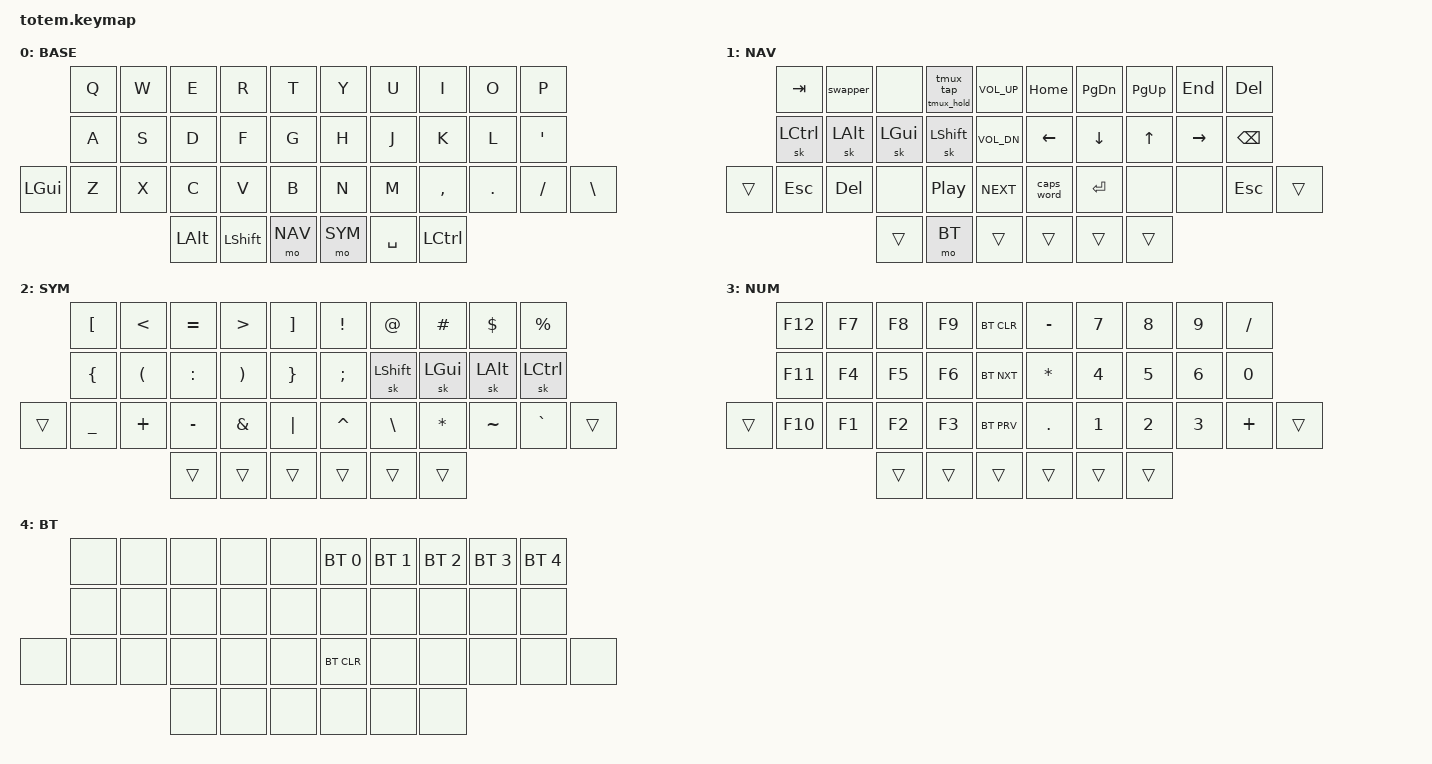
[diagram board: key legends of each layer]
//
//                                                        ▀▀▀▀▀     ▀▀▀▀▀          ▀▀█▀▀
//                                                        ▄▀▀▀▄  ▄  ▄▀▀▀▄  ▄  ▄▀▀▀▄  █  ▄▀▀▀▄
//                                                        █   █  █  █   █  █  █   █  █  █   █
//                                                         ▀▀▀   █   ▀▀▀   █   ▀▀▀   ▀   ▀▀▀
//                                                               █      ▄▄▄█▄▄▄    █   █  
//                                                               ▀      █  █  █     █▄█
//                                                             ▀▀▀▀▀    █  █  █      ▀
//                                                                      ▀  ▀  ▀
//
// ▄▄▄▄▄▄▄▄▄▄▄▄▄▄▄▄▄▄▄▄▄▄▄▄▄▄▄▄▄▄▄▄▄▄▄▄▄▄▄▄▄▄▄▄▄▄▄▄▄▄▄▄▄▄▄▄▄▄▄▄▄▄▄▄▄▄▄▄▄▄▄▄▄▄▄▄▄▄▄▄▄▄▄▄▄▄▄▄▄▄▄▄▄▄▄▄▄▄▄▄▄▄▄▄▄▄▄▄▄▄▄▄▄▄▄▄▄▄▄▄▄▄▄▄▄▄▄▄▄▄▄▄▄▄▄▄▄▄▄▄▄▄▄▄▄▄▄▄▄
       

#include <behaviors.dtsi>
#include <dt-bindings/zmk/keys.h>
#include <dt-bindings/zmk/bt.h>
#include <dt-bindings/zmk/outputs.h>
#include <dt-bindings/zmk/ext_power.h>

#define BASE 0
#define NAV  1
#define SYM  2
#define NUM  3
#define BT   4

&sk {
  release-after-ms = <5000>;
  ignore-modifiers;
};

/ {
    conditional_layers {
        compatible = "zmk,conditional-layers";
        tri_layer {
            if-layers = <NAV SYM>;
            then-layer = <NUM>;
        };
    };

    behaviors {
        swapper: swapper {
            compatible = "zmk,behavior-tri-state";
            label = "SWAPPER";
            #binding-cells = <0>;
            bindings = <&kt LGUI>, <&kp TAB>, <&kt LGUI>;
        };
        
        tmux: tmux_prefix {
            compatible = "zmk,behavior-hold-tap";
            label = "TMUX_PREFIX";
            #binding-cells = <2>;
            tapping-term-ms = <200>;
            quick-tap-ms = <0>;
            flavor = "tap-preferred";
            bindings = <&tmux_hold>, <&tmux_tap>;
        };
    };
    
    macros {
        tmux_tap: tmux_tap {
            label = "TMUX_TAP";
            compatible = "zmk,behavior-macro";
            #binding-cells = <0>;
            bindings
                = <&macro_press &kp LCTRL>
                , <&macro_tap &kp SPACE>
                , <&macro_release &kp LCTRL>
                ;
        };
        
        tmux_hold: tmux_hold {
            label = "TMUX_HOLD";
            compatible = "zmk,behavior-macro-one-param";
            #binding-cells = <1>;
            bindings
                = <&macro_press &kp LCTRL>
                , <&macro_tap &kp SPACE>
                , <&macro_release &kp LCTRL>
                , <&macro_param_1to1>
                , <&macro_tap &kp MACRO_PLACEHOLDER>
                ;
        };
    };
                                
        keymap {
                compatible = "zmk,keymap";
// ▄▄▄▄▄▄▄▄▄▄▄▄▄▄▄▄▄▄▄▄▄▄▄▄▄▄▄▄▄▄▄▄▄▄▄▄▄▄▄▄▄▄▄▄▄▄▄▄▄▄▄▄▄▄▄▄▄▄▄▄▄▄▄▄▄▄▄▄▄▄▄▄▄▄▄▄▄▄▄▄▄▄▄▄▄▄▄▄▄▄▄▄▄▄▄▄▄▄▄▄▄▄▄▄▄▄▄▄▄▄▄▄▄▄▄▄▄▄▄▄▄▄▄▄▄▄▄▄▄▄▄▄▄▄▄▄▄▄▄▄▄▄▄▄▄▄▄▄▄

                base_layer {
// ┏━━━━━━━━━━━━━━━━━━━━━━━━━━━━━━━━━━━━━━━┓
label= "BASE"                              ;
// ┗━━━━━━━━━━━━━━━━━━━━━━━━━━━━━━━━━━━━━━━┛
//             ┏━━━━━━━━━━━┳━━━━━━━━━━━┳━━━━━━━━━━━┳━━━━━━━━━━━┳━━━━━━━━━━━┓   ┏━━━━━━━━━━━┳━━━━━━━━━━━┳━━━━━━━━━━━┳━━━━━━━━━━━┳━━━━━━━━━━━┓
//             ┃     Q     ┃     W     ┃     E     ┃     R     ┃     T     ┃   ┃     Y     ┃     U     ┃     I     ┃     O     ┃     P     ┃
//             ┣━━━━━━━━━━━╋━━━━━━━━━━━╋━━━━━━━━━━━╋━━━━━━━━━━━╋━━━━━━━━━━━┫   ┣━━━━━━━━━━━╋━━━━━━━━━━━╋━━━━━━━━━━━╋━━━━━━━━━━━╋━━━━━━━━━━━┫
//             ┃     A     ┃     S     ┃     D     ┃     F     ┃     G     ┃   ┃     H     ┃     J     ┃     K     ┃     L     ┃     '     ┃
// ┏━━━━━━━━━━━╋━━━━━━━━━━━╋━━━━━━━━━━━╋━━━━━━━━━━━╋━━━━━━━━━━━╋━━━━━━━━━━━┫   ┣━━━━━━━━━━━╋━━━━━━━━━━━╋━━━━━━━━━━━╋━━━━━━━━━━━╋━━━━━━━━━━━╋━━━━━━━━━━━┓
// ┃    CMD    ┃     Z     ┃     X     ┃     C     ┃     V     ┃     B     ┃   ┃     N     ┃     M     ┃     ,     ┃     .     ┃     /     ┃     \     ┃
// ┗━━━━━━━━━━━┻━━━━━━━━━━━┻━━━━━━━━━━━╋━━━━━━━━━━━╋━━━━━━━━━━━╋━━━━━━━━━━━┫   ┣━━━━━━━━━━━╋━━━━━━━━━━━╋━━━━━━━━━━━╋━━━━━━━━━━━┻━━━━━━━━━━━┻━━━━━━━━━━━┛
//                                     ┃    ALT    ┃   SHIFT   ┃    NAV    ┃   ┃    SYM    ┃   SPACE   ┃   CTRL    ┃
//                                     ┗━━━━━━━━━━━┻━━━━━━━━━━━┻━━━━━━━━━━━┛   ┗━━━━━━━━━━━┻━━━━━━━━━━━┻━━━━━━━━━━━┛
 bindings = <
// ╷           ╷           ╷           ╷           ╷           ╷           ╷   ╷           ╷           ╷           ╷           ╷           ╷           ╷

                &kp Q       &kp W       &kp E       &kp R       &kp T           &kp Y       &kp U       &kp I       &kp O       &kp P
                &kp A       &kp S       &kp D       &kp F       &kp G           &kp H       &kp J       &kp K       &kp L       &kp SQT  
    &kp LGUI    &kp Z       &kp X       &kp C       &kp V       &kp B           &kp N       &kp M       &kp COMMA   &kp DOT     &kp FSLH    &kp BSLH
                                        &kp LALT    &kp LSHIFT  &mo NAV         &mo SYM     &kp SPACE   &kp LCTRL
                        >;
                };

// ▄▄▄▄▄▄▄▄▄▄▄▄▄▄▄▄▄▄▄▄▄▄▄▄▄▄▄▄▄▄▄▄▄▄▄▄▄▄▄▄▄▄▄▄▄▄▄▄▄▄▄▄▄▄▄▄▄▄▄▄▄▄▄▄▄▄▄▄▄▄▄▄▄▄▄▄▄▄▄▄▄▄▄▄▄▄▄▄▄▄▄▄▄▄▄▄▄▄▄▄▄▄▄▄▄▄▄▄▄▄▄▄▄▄▄▄▄▄▄▄▄▄▄▄▄▄▄▄▄▄▄▄▄▄▄▄▄▄▄▄▄▄▄▄▄▄▄▄▄

                nav_layer {
// ┏━━━━━━━━━━━━━━━━━━━━━━━━━━━━━━━━━━━━━━━┓
label= "NAV"                               ;
// ┗━━━━━━━━━━━━━━━━━━━━━━━━━━━━━━━━━━━━━━━┛
//             ┏━━━━━━━━━━━┳━━━━━━━━━━━┳━━━━━━━━━━━┳━━━━━━━━━━━┳━━━━━━━━━━━┓   ┏━━━━━━━━━━━┳━━━━━━━━━━━┳━━━━━━━━━━━┳━━━━━━━━━━━┳━━━━━━━━━━━┓
//             ┃    TAB    ┃ WIN SWAP  ┃           ┃ TMUX SWAP ┃   VOL+    ┃   ┃   HOME    ┃  PAGE DN  ┃  PAGE UP  ┃    END    ┃    DEL    ┃
//             ┣━━━━━━━━━━━╋━━━━━━━━━━━╋━━━━━━━━━━━╋━━━━━━━━━━━╋━━━━━━━━━━━┫   ┣━━━━━━━━━━━╋━━━━━━━━━━━╋━━━━━━━━━━━╋━━━━━━━━━━━╋━━━━━━━━━━━┫
//             ┃   CTRL    ┃    ALT    ┃    CMD    ┃   SHIFT   ┃   VOL-    ┃   ┃   LEFT    ┃   DOWN    ┃    UP     ┃   RIGHT   ┃ BACKSPACE ┃
// ┏━━━━━━━━━━━╋━━━━━━━━━━━╋━━━━━━━━━━━╋━━━━━━━━━━━╋━━━━━━━━━━━╋━━━━━━━━━━━┫   ┣━━━━━━━━━━━╋━━━━━━━━━━━╋━━━━━━━━━━━╋━━━━━━━━━━━╋━━━━━━━━━━━╋━━━━━━━━━━━┓
// ┃           ┃    ESC    ┃    DEL    ┃           ┃ PLAY/PAUS ┃   NEXT    ┃   ┃ CAPS WORD ┃   ENTER   ┃           ┃           ┃    ESC    ┃           ┃
// ┗━━━━━━━━━━━┻━━━━━━━━━━━┻━━━━━━━━━━━╋━━━━━━━━━━━╋━━━━━━━━━━━╋━━━━━━━━━━━┫   ┣━━━━━━━━━━━╋━━━━━━━━━━━╋━━━━━━━━━━━╋━━━━━━━━━━━┻━━━━━━━━━━━┻━━━━━━━━━━━┛
//                                     ┃           ┃           ┃           ┃   ┃           ┃           ┃           ┃
//                                     ┗━━━━━━━━━━━┻━━━━━━━━━━━┻━━━━━━━━━━━┛   ┗━━━━━━━━━━━┻━━━━━━━━━━━┻━━━━━━━━━━━┛
 bindings = <
// ╷           ╷           ╷           ╷           ╷           ╷           ╷   ╷           ╷           ╷           ╷           ╷           ╷           ╷

                &kp TAB     &swapper    &none       &tmux 0 0   &kp C_VOL_UP    &kp HOME    &kp PG_DN   &kp PG_UP   &kp END     &kp DEL
                &sk LCTRL   &sk LALT    &sk LGUI    &sk LSHIFT  &kp C_VOL_DN    &kp LEFT    &kp DOWN    &kp UP      &kp RIGHT   &kp BSPC    
    &trans      &kp ESC     &kp DEL     &none       &kp C_PP    &kp C_NEXT      &caps_word  &kp ENTER   &none       &none       &kp ESC     &trans      
                                        &trans      &mo BT      &trans          &trans      &trans      &trans      
                        >;
                };

// ▄▄▄▄▄▄▄▄▄▄▄▄▄▄▄▄▄▄▄▄▄▄▄▄▄▄▄▄▄▄▄▄▄▄▄▄▄▄▄▄▄▄▄▄▄▄▄▄▄▄▄▄▄▄▄▄▄▄▄▄▄▄▄▄▄▄▄▄▄▄▄▄▄▄▄▄▄▄▄▄▄▄▄▄▄▄▄▄▄▄▄▄▄▄▄▄▄▄▄▄▄▄▄▄▄▄▄▄▄▄▄▄▄▄▄▄▄▄▄▄▄▄▄▄▄▄▄▄▄▄▄▄▄▄▄▄▄▄▄▄▄▄▄▄▄▄▄▄▄

                sym_layer {
// ┏━━━━━━━━━━━━━━━━━━━━━━━━━━━━━━━━━━━━━━━┓
label= "SYM"                               ;
// ┗━━━━━━━━━━━━━━━━━━━━━━━━━━━━━━━━━━━━━━━┛
//             ┏━━━━━━━━━━━┳━━━━━━━━━━━┳━━━━━━━━━━━┳━━━━━━━━━━━┳━━━━━━━━━━━┓   ┏━━━━━━━━━━━┳━━━━━━━━━━━┳━━━━━━━━━━━┳━━━━━━━━━━━┳━━━━━━━━━━━┓
//             ┃     [     ┃     <     ┃     =     ┃     >     ┃     ]     ┃   ┃     !     ┃     @     ┃     #     ┃     $     ┃     %     ┃
//             ┣━━━━━━━━━━━╋━━━━━━━━━━━╋━━━━━━━━━━━╋━━━━━━━━━━━╋━━━━━━━━━━━┫   ┣━━━━━━━━━━━╋━━━━━━━━━━━╋━━━━━━━━━━━╋━━━━━━━━━━━╋━━━━━━━━━━━┫
//             ┃     {     ┃     (     ┃     :     ┃     )     ┃     }     ┃   ┃     ;     ┃   SHIFT   ┃    GUI    ┃    ALT    ┃   CTRL    ┃
// ┏━━━━━━━━━━━╋━━━━━━━━━━━╋━━━━━━━━━━━╋━━━━━━━━━━━╋━━━━━━━━━━━╋━━━━━━━━━━━┫   ┣━━━━━━━━━━━╋━━━━━━━━━━━╋━━━━━━━━━━━╋━━━━━━━━━━━╋━━━━━━━━━━━╋━━━━━━━━━━━┓
// ┃           ┃     _     ┃     +     ┃     -     ┃     &     ┃     |     ┃   ┃     ^     ┃     \     ┃     *     ┃     ~     ┃     `     ┃           ┃
// ┗━━━━━━━━━━━┻━━━━━━━━━━━┻━━━━━━━━━━━╋━━━━━━━━━━━╋━━━━━━━━━━━╋━━━━━━━━━━━┫   ┣━━━━━━━━━━━╋━━━━━━━━━━━╋━━━━━━━━━━━╋━━━━━━━━━━━┻━━━━━━━━━━━┻━━━━━━━━━━━┛
//                                     ┃           ┃           ┃    NUM    ┃   ┃           ┃           ┃           ┃
//                                     ┗━━━━━━━━━━━┻━━━━━━━━━━━┻━━━━━━━━━━━┛   ┗━━━━━━━━━━━┻━━━━━━━━━━━┻━━━━━━━━━━━┛
 bindings = <
// ╷           ╷           ╷           ╷           ╷           ╷           ╷   ╷           ╷           ╷           ╷           ╷           ╷           ╷

                &kp LBKT    &kp LT      &kp EQUAL   &kp GT      &kp RBKT        &kp EXCL    &kp AT      &kp HASH    &kp DLLR    &kp PRCNT     
                &kp LBRC    &kp LPAR    &kp COLON   &kp RPAR    &kp RBRC        &kp SEMI    &sk LSHIFT  &sk LGUI    &sk LALT    &sk LCTRL 
    &trans      &kp UNDER   &kp PLUS    &kp MINUS   &kp AMPS    &kp PIPE        &kp CARET   &kp BSLH    &kp STAR    &kp TILDE   &kp GRAVE  &trans         
                                        &trans      &trans      &trans          &trans      &trans      &trans      
                        >;
                };

// ▄▄▄▄▄▄▄▄▄▄▄▄▄▄▄▄▄▄▄▄▄▄▄▄▄▄▄▄▄▄▄▄▄▄▄▄▄▄▄▄▄▄▄▄▄▄▄▄▄▄▄▄▄▄▄▄▄▄▄▄▄▄▄▄▄▄▄▄▄▄▄▄▄▄▄▄▄▄▄▄▄▄▄▄▄▄▄▄▄▄▄▄▄▄▄▄▄▄▄▄▄▄▄▄▄▄▄▄▄▄▄▄▄▄▄▄▄▄▄▄▄▄▄▄▄▄▄▄▄▄▄▄▄▄▄▄▄▄▄▄▄▄▄▄▄▄▄▄▄

                number_layer {
// ┏━━━━━━━━━━━━━━━━━━━━━━━━━━━━━━━━━━━━━━━┓
label= "NUM"                               ;
// ┗━━━━━━━━━━━━━━━━━━━━━━━━━━━━━━━━━━━━━━━┛
//             ┏━━━━━━━━━━━┳━━━━━━━━━━━┳━━━━━━━━━━━┳━━━━━━━━━━━┳━━━━━━━━━━━┓   ┏━━━━━━━━━━━┳━━━━━━━━━━━┳━━━━━━━━━━━┳━━━━━━━━━━━┳━━━━━━━━━━━┓
//             ┃    F12    ┃    F7     ┃    F8     ┃    F9     ┃ BT CLEAR  ┃   ┃     -     ┃     7     ┃     8     ┃     9     ┃     /     ┃
//             ┣━━━━━━━━━━━╋━━━━━━━━━━━╋━━━━━━━━━━━╋━━━━━━━━━━━╋━━━━━━━━━━━┫   ┣━━━━━━━━━━━╋━━━━━━━━━━━╋━━━━━━━━━━━╋━━━━━━━━━━━╋━━━━━━━━━━━┫
//             ┃    F11    ┃    F4     ┃    F5     ┃    F6     ┃ BT NEXT   ┃   ┃     *     ┃     4     ┃     5     ┃     6     ┃     0     ┃
// ┏━━━━━━━━━━━╋━━━━━━━━━━━╋━━━━━━━━━━━╋━━━━━━━━━━━╋━━━━━━━━━━━╋━━━━━━━━━━━┫   ┣━━━━━━━━━━━╋━━━━━━━━━━━╋━━━━━━━━━━━╋━━━━━━━━━━━╋━━━━━━━━━━━╋━━━━━━━━━━━┓
// ┃           ┃    F10    ┃    F1     ┃    F2     ┃    F3     ┃ BT PREV   ┃   ┃     .     ┃     1     ┃     2     ┃     3     ┃     +     ┃           ┃
// ┗━━━━━━━━━━━┻━━━━━━━━━━━┻━━━━━━━━━━━╋━━━━━━━━━━━╋━━━━━━━━━━━╋━━━━━━━━━━━┫   ┣━━━━━━━━━━━╋━━━━━━━━━━━╋━━━━━━━━━━━╋━━━━━━━━━━━┻━━━━━━━━━━━┻━━━━━━━━━━━┛
//                                     ┃           ┃           ┃           ┃   ┃           ┃           ┃           ┃
//                                     ┗━━━━━━━━━━━┻━━━━━━━━━━━┻━━━━━━━━━━━┛   ┗━━━━━━━━━━━┻━━━━━━━━━━━┻━━━━━━━━━━━┛
 bindings = <
// ╷           ╷           ╷           ╷           ╷           ╷           ╷   ╷           ╷           ╷           ╷           ╷           ╷           ╷

                &kp F12     &kp F7     &kp F8       &kp F9      &bt BT_CLR      &kp MINUS   &kp N7      &kp N8      &kp N9      &kp FSLH
                &kp F11     &kp F4     &kp F5       &kp F6      &bt BT_NXT      &kp STAR    &kp N4      &kp N5      &kp N6      &kp N0   
    &trans      &kp F10     &kp F1     &kp F2       &kp F3      &bt BT_PRV      &kp DOT     &kp N1      &kp N2      &kp N3      &kp PLUS    &trans         
                                       &trans       &trans      &trans          &trans      &trans      &trans      
                        >;
                };

// ▄▄▄▄▄▄▄▄▄▄▄▄▄▄▄▄▄▄▄▄▄▄▄▄▄▄▄▄▄▄▄▄▄▄▄▄▄▄▄▄▄▄▄▄▄▄▄▄▄▄▄▄▄▄▄▄▄▄▄▄▄▄▄▄▄▄▄▄▄▄▄▄▄▄▄▄▄▄▄▄▄▄▄▄▄▄▄▄▄▄▄▄▄▄▄▄▄▄▄▄▄▄▄▄▄▄▄▄▄▄▄▄▄▄▄▄▄▄▄▄▄▄▄▄▄▄▄▄▄▄▄▄▄▄▄▄▄▄▄▄▄▄▄▄▄▄▄▄▄

                bt_layer {
// ┏━━━━━━━━━━━━━━━━━━━━━━━━━━━━━━━━━━━━━━━┓
label= "BT"                               ;
// ┗━━━━━━━━━━━━━━━━━━━━━━━━━━━━━━━━━━━━━━━┛
//             ┏━━━━━━━━━━━┳━━━━━━━━━━━┳━━━━━━━━━━━┳━━━━━━━━━━━┳━━━━━━━━━━━┓   ┏━━━━━━━━━━━┳━━━━━━━━━━━┳━━━━━━━━━━━┳━━━━━━━━━━━┳━━━━━━━━━━━┓
//             ┃           ┃           ┃           ┃           ┃           ┃   ┃ BT Sel 0  ┃ BT Sel 1  ┃ BT Sel 2  ┃ BT Sel 3  ┃ BT Sel 4  ┃
//             ┣━━━━━━━━━━━╋━━━━━━━━━━━╋━━━━━━━━━━━╋━━━━━━━━━━━╋━━━━━━━━━━━┫   ┣━━━━━━━━━━━╋━━━━━━━━━━━╋━━━━━━━━━━━╋━━━━━━━━━━━╋━━━━━━━━━━━┫
//             ┃           ┃           ┃           ┃           ┃           ┃   ┃           ┃           ┃           ┃           ┃           ┃
// ┏━━━━━━━━━━━╋━━━━━━━━━━━╋━━━━━━━━━━━╋━━━━━━━━━━━╋━━━━━━━━━━━╋━━━━━━━━━━━┫   ┣━━━━━━━━━━━╋━━━━━━━━━━━╋━━━━━━━━━━━╋━━━━━━━━━━━╋━━━━━━━━━━━╋━━━━━━━━━━━┓
// ┃           ┃           ┃           ┃           ┃           ┃           ┃   ┃ BT Clear  ┃           ┃           ┃           ┃           ┃           ┃
// ┗━━━━━━━━━━━┻━━━━━━━━━━━┻━━━━━━━━━━━╋━━━━━━━━━━━╋━━━━━━━━━━━╋━━━━━━━━━━━┫   ┣━━━━━━━━━━━╋━━━━━━━━━━━╋━━━━━━━━━━━╋━━━━━━━━━━━┻━━━━━━━━━━━┻━━━━━━━━━━━┛
//                                     ┃           ┃           ┃           ┃   ┃           ┃           ┃           ┃
//                                     ┗━━━━━━━━━━━┻━━━━━━━━━━━┻━━━━━━━━━━━┛   ┗━━━━━━━━━━━┻━━━━━━━━━━━┻━━━━━━━━━━━┛
 bindings = <
// ╷           ╷           ╷           ╷           ╷           ╷           ╷   ╷           ╷           ╷           ╷           ╷           ╷           ╷

                &none       &none      &none        &none       &none           &bt BT_SEL 0 &bt BT_SEL 1 &bt BT_SEL 2 &bt BT_SEL 3 &bt BT_SEL 4
                &none       &none      &none        &none       &none           &none       &none       &none        &none      &none   
    &none       &none       &none      &none        &none       &none           &bt BT_CLR  &none       &none        &none      &none       &none         
                                       &none        &none       &none           &none       &none       &none     
                        >;
                };

        };
};
